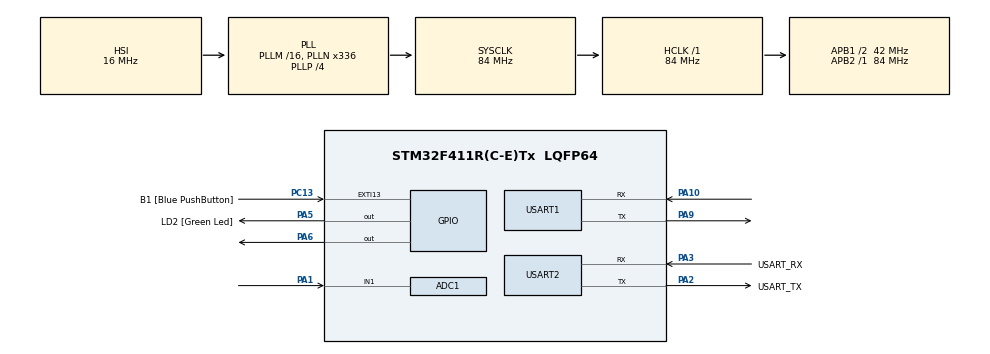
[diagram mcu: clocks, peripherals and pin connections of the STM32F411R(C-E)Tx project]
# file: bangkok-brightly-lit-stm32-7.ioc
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ADC1.Channel-0\#ChannelRegularConversion=ADC_CHANNEL_1
ADC1.NbrOfConversionFlag=1
ADC1.Rank-0\#ChannelRegularConversion=1
ADC1.Resolution=ADC_RESOLUTION_10B
ADC1.SamplingTime-0\#ChannelRegularConversion=ADC_SAMPLETIME_3CYCLES
ADC1.master=1
FREERTOS.Queues01=myQueue01,16,uint16_t,0,Dynamic,NULL,NULL
FREERTOS.Tasks01=defaultTask,24,128,StartDefaultTask,Default,NULL,Dynamic,NULL,NULL;myTask02,8,128,StartTask02,Default,NULL,Dynamic,NULL,NULL;myTask03,8,128,StartTask03,Default,NULL,Dynamic,NULL,NULL;myTask04,8,128,StartTask04,Default,NULL,Dynamic,NULL,NULL;myTask05,8,128,StartTask05,Default,NULL,Dynamic,NULL,NULL
Mcu.Family=STM32F4
Mcu.Name=STM32F411R(C-E)Tx
Mcu.Package=LQFP64
NVIC.PriorityGroup=NVIC_PRIORITYGROUP_4
PA1.Signal=ADCx_IN1
PA10.Mode=Asynchronous
PA10.Signal=USART1_RX
PA13.GPIO_Label=TMS
PA13.Mode=Serial_Wire
PA13.Signal=SYS_JTMS-SWDIO
PA14.GPIO_Label=TCK
PA14.Mode=Serial_Wire
PA14.Signal=SYS_JTCK-SWCLK
PA2.GPIO_Label=USART_TX
PA2.Mode=Asynchronous
PA2.Signal=USART2_TX
PA3.GPIO_Label=USART_RX
PA3.Mode=Asynchronous
PA3.Signal=USART2_RX
PA5.GPIO_Label=LD2 [Green Led]
PA5.Signal=GPIO_Output
PA6.Signal=GPIO_Output
PA9.Mode=Asynchronous
PA9.Signal=USART1_TX
PB3.GPIO_Label=SWO
PB3.Signal=SYS_JTDO-SWO
PC13-ANTI_TAMP.GPIO_Label=B1 [Blue PushButton]
PC13-ANTI_TAMP.GPIO_ModeDefaultEXTI=GPIO_MODE_IT_FALLING
PC13-ANTI_TAMP.Signal=GPXTI13
PC14-OSC32_IN.Mode=LSE-External-Oscillator
PC14-OSC32_IN.Signal=RCC_OSC32_IN
PC15-OSC32_OUT.Mode=LSE-External-Oscillator
PC15-OSC32_OUT.Signal=RCC_OSC32_OUT
PH0\ -\ OSC_IN.Mode=HSE-External-Clock-Source
PH0\ -\ OSC_IN.Signal=RCC_OSC_IN
PH1\ -\ OSC_OUT.Mode=HSE-External-Clock-Source
PH1\ -\ OSC_OUT.Signal=RCC_OSC_OUT
ProjectManager.HeapSize=0x200
ProjectManager.StackSize=0x400
ProjectManager.TargetToolchain=STM32CubeIDE
RCC.48MHZClocksFreq_Value=84000000
RCC.AHBFreq_Value=84000000
RCC.APB1CLKDivider=RCC_HCLK_DIV2
RCC.APB1Freq_Value=42000000
RCC.APB1TimFreq_Value=84000000
RCC.APB2Freq_Value=84000000
RCC.APB2TimFreq_Value=84000000
RCC.CortexFreq_Value=84000000
RCC.FLatency-AdvancedSettings=FLASH_LATENCY_2
RCC.HCLKFreq_Value=84000000
RCC.HSE_VALUE=8000000
RCC.HSI_VALUE=16000000
RCC.PLLN=336
RCC.PLLP=RCC_PLLP_DIV4
RCC.SYSCLKFreq_VALUE=84000000
RCC.SYSCLKSource=RCC_SYSCLKSOURCE_PLLCLK
RCC.VCOOutputFreq_Value=336000000
SH.ADCx_IN1.0=ADC1_IN1,IN1
USART1.VirtualMode=VM_ASYNC
USART2.VirtualMode=VM_ASYNC
VP_FREERTOS_VS_CMSIS_V2.Mode=CMSIS_V2
board=NUCLEO-F411RE

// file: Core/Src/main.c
/* USER CODE BEGIN Header */
/**
 ******************************************************************************
 * @file           : main.c
 * @brief          : Main program body
 ******************************************************************************
 * @attention
 *
 * Copyright (c) 2024 STMicroelectronics.
 * All rights reserved.
 *
 * This software is licensed under terms that can be found in the LICENSE file
 * in the root directory of this software component.
 * If no LICENSE file comes with this software, it is provided AS-IS.
 *
 ******************************************************************************
 */
/* USER CODE END Header */
#include "main.h"
#include "cmsis_os.h"

ADC_HandleTypeDef hadc1;

UART_HandleTypeDef huart1;
UART_HandleTypeDef huart2;

/* Definitions for defaultTask */
osThreadId_t defaultTaskHandle;
const osThreadAttr_t defaultTask_attributes = { .name = "defaultTask",
		.stack_size = 128 * 4, .priority = (osPriority_t) osPriorityNormal, };
/* Definitions for myTask02 */
osThreadId_t myTask02Handle;
const osThreadAttr_t myTask02_attributes = { .name = "myTask02", .stack_size =
		128 * 4, .priority = (osPriority_t) osPriorityLow, };
/* Definitions for myTask03 */
osThreadId_t myTask03Handle;
const osThreadAttr_t myTask03_attributes = { .name = "myTask03", .stack_size =
		128 * 4, .priority = (osPriority_t) osPriorityLow, };
/* Definitions for myTask04 */
osThreadId_t myTask04Handle;
const osThreadAttr_t myTask04_attributes = { .name = "myTask04", .stack_size =
		128 * 4, .priority = (osPriority_t) osPriorityLow, };
/* Definitions for myTask05 */
osThreadId_t myTask05Handle;
const osThreadAttr_t myTask05_attributes = { .name = "myTask05", .stack_size =
		128 * 4, .priority = (osPriority_t) osPriorityLow, };
/* Definitions for myQueue01 */
osMessageQueueId_t myQueue01Handle;
const osMessageQueueAttr_t myQueue01_attributes = { .name = "myQueue01" };
/* USER CODE BEGIN PV */
int globalPir = 0;
int globalLight = 0;
/* USER CODE END PV */

void SystemClock_Config(void);
static void MX_GPIO_Init(void);
static void MX_USART2_UART_Init(void);
static void MX_ADC1_Init(void);
static void MX_USART1_UART_Init(void);
void StartDefaultTask(void *argument);
void StartTask02(void *argument);
void StartTask03(void *argument);
void StartTask04(void *argument);
void StartTask05(void *argument);

int main(void) {

	/* MCU Configuration--------------------------------------------------------*/

	/* Reset of all peripherals, Initializes the Flash interface and the Systick. */
	HAL_Init();

	/* Configure the system clock */
	SystemClock_Config();

	/* Initialize all configured peripherals */
	MX_GPIO_Init();
	MX_USART2_UART_Init();
	MX_ADC1_Init();
	MX_USART1_UART_Init();

	/* Init scheduler */
	osKernelInitialize();

	/* Create the queue(s) */
	/* creation of myQueue01 */
	myQueue01Handle = osMessageQueueNew(16, sizeof(char*),
			&myQueue01_attributes);

	/* Create the thread(s) */
	/* creation of defaultTask */
	defaultTaskHandle = osThreadNew(StartDefaultTask, NULL,
			&defaultTask_attributes);

	/* creation of myTask02 */
	myTask02Handle = osThreadNew(StartTask02, NULL, &myTask02_attributes);

	/* creation of myTask03 */
	myTask03Handle = osThreadNew(StartTask03, NULL, &myTask03_attributes);

	/* creation of myTask04 */
	myTask04Handle = osThreadNew(StartTask04, NULL, &myTask04_attributes);

	/* creation of myTask05 */
	myTask05Handle = osThreadNew(StartTask05, NULL, &myTask05_attributes);

	/* Start scheduler */
	osKernelStart();

	/* We should never get here as control is now taken by the scheduler */
	/* Infinite loop */
	while (1) {

	}
}

void SystemClock_Config(void) {
	RCC_OscInitTypeDef RCC_OscInitStruct = { 0 };
	RCC_ClkInitTypeDef RCC_ClkInitStruct = { 0 };

	/** Configure the main internal regulator output voltage
	 */
	__HAL_RCC_PWR_CLK_ENABLE();
	__HAL_PWR_VOLTAGESCALING_CONFIG(PWR_REGULATOR_VOLTAGE_SCALE1);

	/** Initializes the RCC Oscillators according to the specified parameters
	 * in the RCC_OscInitTypeDef structure.
	 */
	RCC_OscInitStruct.OscillatorType = RCC_OSCILLATORTYPE_HSI;
	RCC_OscInitStruct.HSIState = RCC_HSI_ON;
	RCC_OscInitStruct.HSICalibrationValue = RCC_HSICALIBRATION_DEFAULT;
	RCC_OscInitStruct.PLL.PLLState = RCC_PLL_ON;
	RCC_OscInitStruct.PLL.PLLSource = RCC_PLLSOURCE_HSI;
	RCC_OscInitStruct.PLL.PLLM = 16;
	RCC_OscInitStruct.PLL.PLLN = 336;
	RCC_OscInitStruct.PLL.PLLP = RCC_PLLP_DIV4;
	RCC_OscInitStruct.PLL.PLLQ = 4;
	if (HAL_RCC_OscConfig(&RCC_OscInitStruct) != HAL_OK) {
		Error_Handler();
	}

	/** Initializes the CPU, AHB and APB buses clocks
	 */
	RCC_ClkInitStruct.ClockType = RCC_CLOCKTYPE_HCLK | RCC_CLOCKTYPE_SYSCLK
			| RCC_CLOCKTYPE_PCLK1 | RCC_CLOCKTYPE_PCLK2;
	RCC_ClkInitStruct.SYSCLKSource = RCC_SYSCLKSOURCE_PLLCLK;
	RCC_ClkInitStruct.AHBCLKDivider = RCC_SYSCLK_DIV1;
	RCC_ClkInitStruct.APB1CLKDivider = RCC_HCLK_DIV2;
	RCC_ClkInitStruct.APB2CLKDivider = RCC_HCLK_DIV1;

	if (HAL_RCC_ClockConfig(&RCC_ClkInitStruct, FLASH_LATENCY_2) != HAL_OK) {
		Error_Handler();
	}
}

static void MX_ADC1_Init(void) {

	ADC_ChannelConfTypeDef sConfig = { 0 };

	/** Configure the global features of the ADC (Clock, Resolution, Data Alignment and number of conversion)
	 */
	hadc1.Instance = ADC1;
	hadc1.Init.ClockPrescaler = ADC_CLOCK_SYNC_PCLK_DIV4;
	hadc1.Init.Resolution = ADC_RESOLUTION_10B;
	hadc1.Init.ScanConvMode = DISABLE;
	hadc1.Init.ContinuousConvMode = DISABLE;
	hadc1.Init.DiscontinuousConvMode = DISABLE;
	hadc1.Init.ExternalTrigConvEdge = ADC_EXTERNALTRIGCONVEDGE_NONE;
	hadc1.Init.ExternalTrigConv = ADC_SOFTWARE_START;
	hadc1.Init.DataAlign = ADC_DATAALIGN_RIGHT;
	hadc1.Init.NbrOfConversion = 1;
	hadc1.Init.DMAContinuousRequests = DISABLE;
	hadc1.Init.EOCSelection = ADC_EOC_SINGLE_CONV;
	if (HAL_ADC_Init(&hadc1) != HAL_OK) {
		Error_Handler();
	}

	/** Configure for the selected ADC regular channel its corresponding rank in the sequencer and its sample time.
	 */
	sConfig.Channel = ADC_CHANNEL_1;
	sConfig.Rank = 1;
	sConfig.SamplingTime = ADC_SAMPLETIME_3CYCLES;
	if (HAL_ADC_ConfigChannel(&hadc1, &sConfig) != HAL_OK) {
		Error_Handler();
	}

}

static void MX_USART1_UART_Init(void) {

	huart1.Instance = USART1;
	huart1.Init.BaudRate = 115200;
	huart1.Init.WordLength = UART_WORDLENGTH_8B;
	huart1.Init.StopBits = UART_STOPBITS_1;
	huart1.Init.Parity = UART_PARITY_NONE;
	huart1.Init.Mode = UART_MODE_TX_RX;
	huart1.Init.HwFlowCtl = UART_HWCONTROL_NONE;
	huart1.Init.OverSampling = UART_OVERSAMPLING_16;
	if (HAL_UART_Init(&huart1) != HAL_OK) {
		Error_Handler();
	}

}

static void MX_USART2_UART_Init(void) {

	huart2.Instance = USART2;
	huart2.Init.BaudRate = 115200;
	huart2.Init.WordLength = UART_WORDLENGTH_8B;
	huart2.Init.StopBits = UART_STOPBITS_1;
	huart2.Init.Parity = UART_PARITY_NONE;
	huart2.Init.Mode = UART_MODE_TX_RX;
	huart2.Init.HwFlowCtl = UART_HWCONTROL_NONE;
	huart2.Init.OverSampling = UART_OVERSAMPLING_16;
	if (HAL_UART_Init(&huart2) != HAL_OK) {
		Error_Handler();
	}

}

static void MX_GPIO_Init(void) {
	GPIO_InitTypeDef GPIO_InitStruct = { 0 };

	/* GPIO Ports Clock Enable */
	__HAL_RCC_GPIOC_CLK_ENABLE();
	__HAL_RCC_GPIOH_CLK_ENABLE();
	__HAL_RCC_GPIOA_CLK_ENABLE();
	__HAL_RCC_GPIOB_CLK_ENABLE();

	/*Configure GPIO pin Output Level */
	HAL_GPIO_WritePin(GPIOA, LD2_Pin | GPIO_PIN_6, GPIO_PIN_RESET);

	/*Configure GPIO pin : B1_Pin */
	GPIO_InitStruct.Pin = B1_Pin;
	GPIO_InitStruct.Mode = GPIO_MODE_IT_FALLING;
	GPIO_InitStruct.Pull = GPIO_NOPULL;
	HAL_GPIO_Init(B1_GPIO_Port, &GPIO_InitStruct);

	/*Configure GPIO pins : LD2_Pin PA6 */
	GPIO_InitStruct.Pin = LD2_Pin | GPIO_PIN_6;
	GPIO_InitStruct.Mode = GPIO_MODE_OUTPUT_PP;
	GPIO_InitStruct.Pull = GPIO_NOPULL;
	GPIO_InitStruct.Speed = GPIO_SPEED_FREQ_LOW;
	HAL_GPIO_Init(GPIOA, &GPIO_InitStruct);

}

void StartDefaultTask(void *argument) {
	for (;;) {
		osDelay(1);
	}
}

void StartTask02(void *argument) {
	/* USER CODE BEGIN StartTask02 */
	/* Infinite loop */
	for (;;) {
		int adcval = 0;
		HAL_ADC_Start(&hadc1);
		if (HAL_ADC_PollForConversion(&hadc1, 1000) == HAL_OK) {
			adcval = HAL_ADC_GetValue(&hadc1);
			globalLight = adcval;
//			globalLight = adcval;

//			osStatus status = osMutexWait(myMutex01Handle, 100); // Wait for a maximum of 100 ticks
//			if (status == osOK) { // Mutex acquired successfully
//				HAL_UART_Transmit(&huart2, buf, strlen(buf), 1000);
//				osMutexRelease(myMutex01Handle);
//				osDelay(100);
//			}
			char *clone = malloc(32 * sizeof(char));
			clone[0] = 0b11000000 | (adcval >> 7);
			clone[1] = adcval & 0b01111111;
			clone[2] = '\0';
//			sprintf(clone, "l%dx ", adcval);
			osMessageQueuePut(myQueue01Handle, &clone, 0, 100);
			osDelay(500);

//			if (osMutexWait(myMutex01Handle, 300) == osOK) {
//				HAL_UART_Transmit(&huart2, buf, strlen(buf), 300);
//				osMutexRelease(myMutex01Handle);
//				osDelay(100);
//			}
		}
	}
	/* USER CODE END StartTask02 */
}

void StartTask03(void *argument) {
	/* USER CODE BEGIN StartTask03 */
	/* Infinite loop */
	for (;;) {
		uint8_t got = HAL_GPIO_ReadPin(GPIOB, GPIO_PIN_10);
		char *clone = malloc(32 * sizeof(char));
		clone[0] = 0b10000000;
		clone[2] = '\0';

		int pinval;

		if (got) {
			clone[1] = 1;
			globalPir = 1;
//			sprintf(clone, "p1x ");
			pinval = GPIO_PIN_SET;
//			globalPir = 1;
		} else {
			clone[1] = 0;
			globalPir = 0;
//			sprintf(clone, "p0x ");
			pinval = GPIO_PIN_RESET;
//			globalPir = 0;
		}

		//		if (osMutexWait(myMutex01Handle, 100) == osOK) {
//		HAL_GPIO_WritePin(GPIOA, GPIO_PIN_5, pinval);
		//			HAL_UART_Transmit(&huart2, "yes", strlen("yes"), 1000);
		//			osMutexRelease(myMutex01Handle);
		//			osDelay(100);
		//		}

		osMessageQueuePut(myQueue01Handle, &clone, 0, 100);
		//		HAL_UART_Transmit(&huart2, "hello\r\n", strlen( "hello\r\n"), 1000);
		osDelay(500);
	}
}
/* USER CODE END StartTask03 */

void StartTask04(void *argument) {
	/* USER CODE BEGIN StartTask04 */
	/* Infinite loop */
	for (;;) {
		char *buf;

		if (osMessageQueueGet(myQueue01Handle, &buf, NULL, osWaitForever)
				== osOK) {
			char temp[100];
			sprintf(temp, "%d %d\r\n", globalLight, globalPir);

			//			int a = buf[0];
			//			a <<= 8;
			//			a |= buf[1];
			//			sprintf(temp, "%d\r\n", a);
			HAL_UART_Transmit(&huart2, temp, strlen(temp), HAL_MAX_DELAY);
			//            val = (val+1) % 0xFF;

			//            temp[0] = val;
			//            HAL_UART_Transmit(&huart1, temp, 1,HAL_MAX_DELAY);
			//            osDelay(100);

			temp[0] = buf[0];
			HAL_UART_Transmit(&huart1, temp, 1, HAL_MAX_DELAY);
			temp[0] = buf[1];
			HAL_UART_Transmit(&huart1, temp, 1, HAL_MAX_DELAY);

			//            HAL_UART_Transmit(&huart1, (uint8_t) buf, strlen(buf),
			//            HAL_MAX_DELAY);
			//            HAL_UART_Transmit(&huart2, (uint8_t*) buf, strlen(buf), 500);
			//            free(buf);
			osDelay(100);
		}
	}
}
/* USER CODE END StartTask04 */

void StartTask05(void *argument) {
	/* USER CODE BEGIN StartTask05 */
	/* Infinite loop */
	for (;;) {
		if (globalLight > 900 && globalPir == 1) {
			HAL_GPIO_WritePin(GPIOA, GPIO_PIN_6, GPIO_PIN_SET);
			osDelay(1000);
		} else {
			HAL_GPIO_WritePin(GPIOA, GPIO_PIN_6, GPIO_PIN_RESET);
			osDelay(10);
		}
	}
	/* USER CODE END StartTask05 */
}

void Error_Handler(void) {
	__disable_irq();
	while (1) {
	}
}
